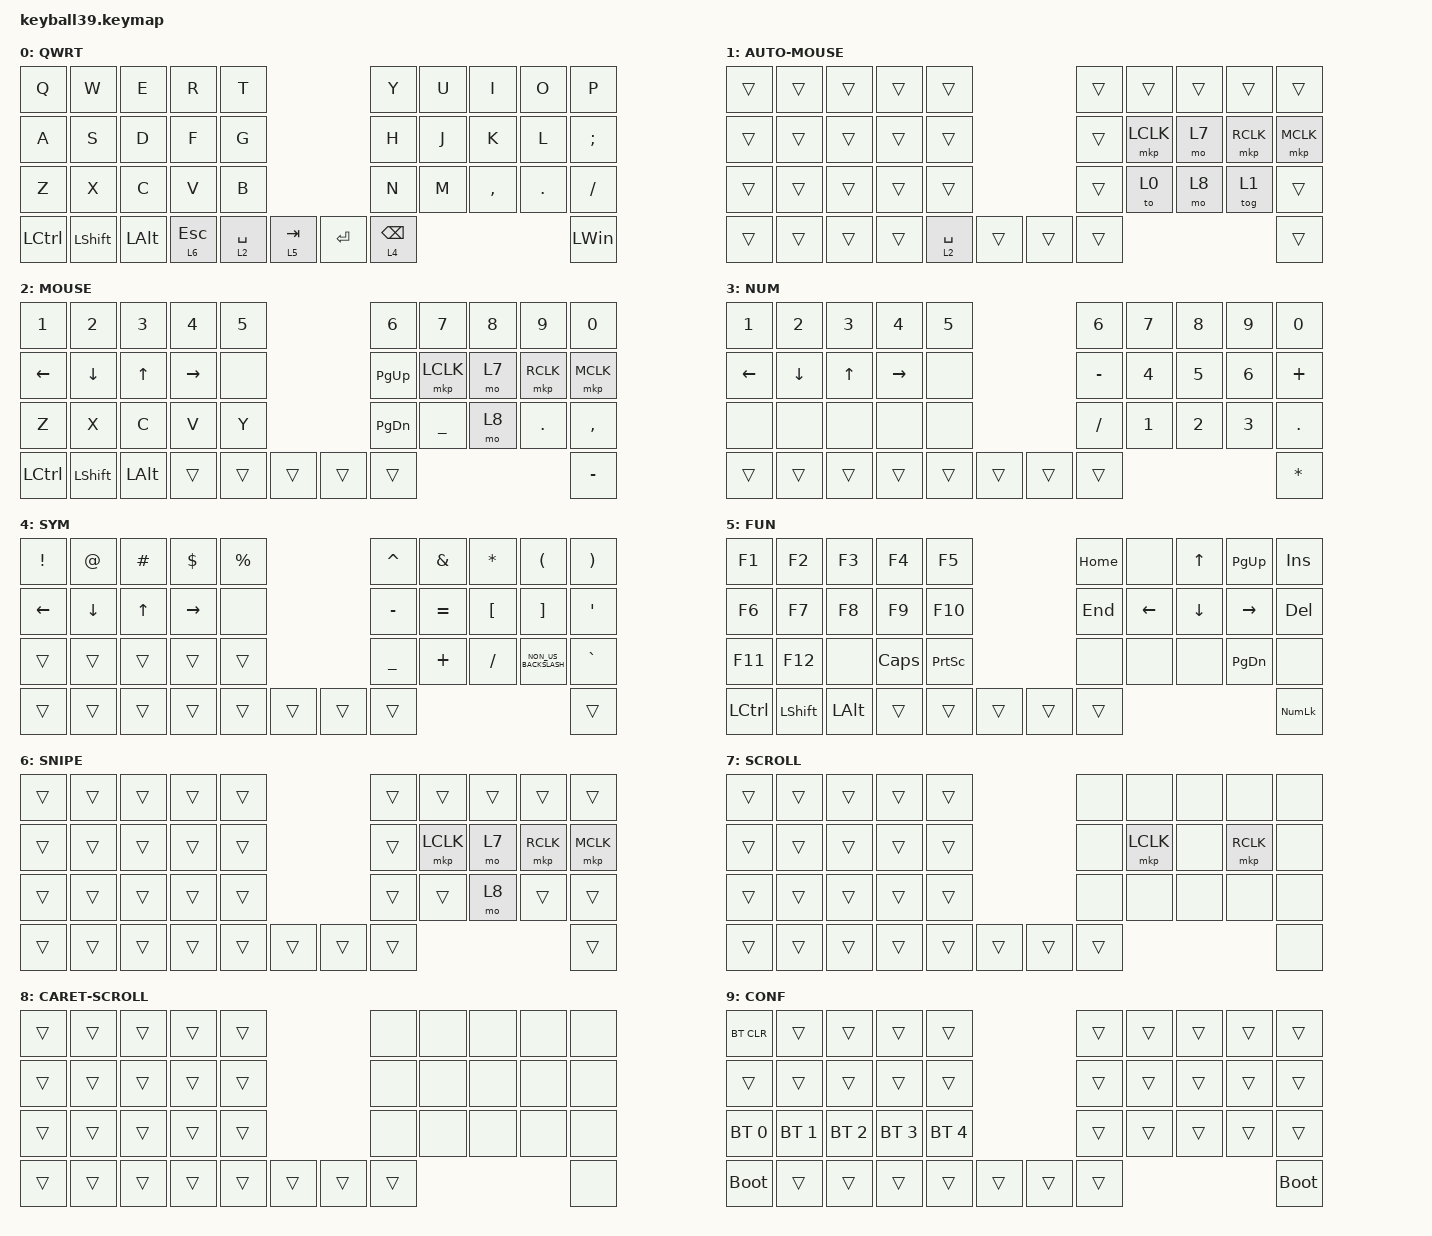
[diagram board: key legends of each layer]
#define DEFAULT 0
#define NUM     1
#define SYM     2
#define FUN     3
#define MOUSE   4
#define SCROLL  5
#define SNIPE   6
#define ZMK_POINTING_DEFAULT_SCRL_VAL 10    // default: 10

#include <behaviors/mouse_keys.dtsi>
#include <dt-bindings/zmk/mouse.h>
#include <behaviors.dtsi>
#include <dt-bindings/zmk/bt.h>
#include <dt-bindings/zmk/keys.h>
#include <dt-bindings/zmk/pointing.h>

&lt {
    tapping-term-ms = <240>;
    flavor = "hold-preferred";
    quick-tap-ms = <200>;
};

&mt {
    tapping-term-ms = <200>;
    flavor = "tap-preferred";
    quick-tap-ms = <150>;
};

&caps_word { continue-list = <UNDERSCORE MINUS>; };

/ {
    // custom shift using mod-morph 

    behaviors {
        cmqus: comma_question {
            compatible = "zmk,behavior-mod-morph";
            label = "COMMA_QUESTION";
            #binding-cells = <0>;
            bindings = <&kp COMMA>, <&kp QUESTION>;

            mods = <(MOD_LSFT|MOD_RSFT)>;
        };

        dtsmi: dot_semi {
            compatible = "zmk,behavior-mod-morph";
            label = "DOT_SEMI";
            #binding-cells = <0>;
            bindings = <&kp DOT>, <&kp SEMI>;

            mods = <(MOD_LSFT|MOD_RSFT)>;
        };
    };

    macros {
        Hiragana: Hiragana {
            compatible = "zmk,behavior-macro";
            #binding-cells = <0>;
            bindings = <&kp LC(SPACE)>;
            label = "HIRAGANA";
        };
    };

    combos {
        compatible = "zmk,combos";

        config-layer-combo {
            bindings = <&mo 9>;
            key-positions = <35 36>;
        };

        tb-caret-layer {
            bindings = <&mo 8>;
            key-positions = <17 18>;
            layers = <1 2 6>;
        };
    };

    keymap {
        compatible = "zmk,keymap";

        default_layer {
            label = "QWRT";
            bindings = <
&kp Q      &kp W           &kp E     &kp R         &kp T                            &kp Y            &kp U  &kp I      &kp O    &kp P
&kp A      &kp S           &kp D     &kp F         &kp G                            &kp H            &kp J  &kp K      &kp L    &kp SEMI
&kp Z      &kp X           &kp C     &kp V         &kp B                            &kp N            &kp M  &kp COMMA  &kp DOT  &kp SLASH
&kp LCTRL  &kp LEFT_SHIFT  &kp LALT  &lt 6 ESCAPE  &lt 2 SPACE  &lt 5 TAB  &kp RET  &lt 4 BACKSPACE                             &kp LEFT_WIN
            >;
        };

        mouse_autolayer {
            label = "AUTO-MOUSE";
            bindings = <
&trans  &trans  &trans  &trans  &trans                       &trans  &trans     &trans  &trans     &trans
&trans  &trans  &trans  &trans  &trans                       &trans  &mkp LCLK  &mo 7   &mkp RCLK  &mkp MCLK
&trans  &trans  &trans  &trans  &trans                       &trans  &to 0      &mo 8   &tog 1     &trans
&trans  &trans  &trans  &trans  &lt 2 SPACE  &trans  &trans  &trans                                &trans
            >;
        };

        mouse_layer {
            label = "MOUSE";
            bindings = <
&kp N1            &kp N2          &kp N3        &kp N4     &kp N5                  &kp N6         &kp N7          &kp N8  &kp N9     &kp N0
&kp LEFT_ARROW    &kp DOWN_ARROW  &kp UP_ARROW  &kp RIGHT  &none                   &kp PAGE_UP    &mkp LCLK       &mo 7   &mkp RCLK  &mkp MCLK
&kp Z             &kp X           &kp C         &kp V      &kp Y                   &kp PAGE_DOWN  &kp UNDERSCORE  &mo 8   &kp DOT    &kp COMMA
&kp LEFT_CONTROL  &kp LEFT_SHIFT  &kp LEFT_ALT  &trans     &trans  &trans  &trans  &trans                                            &kp MINUS
            >;
        };

        number_layer {
            label = "NUM";
            bindings = <
&kp NUMBER_1  &kp NUMBER_2  &kp NUMBER_3  &kp NUMBER_4  &kp NUMBER_5                  &kp NUMBER_6  &kp NUMBER_7  &kp NUMBER_8  &kp NUMBER_9  &kp NUMBER_0
&kp LEFT      &kp DOWN      &kp UP_ARROW  &kp RIGHT     &none                         &kp MINUS     &kp NUMBER_4  &kp NUMBER_5  &kp NUMBER_6  &kp PLUS
&none         &none         &none         &none         &none                         &kp SLASH     &kp NUMBER_1  &kp NUMBER_2  &kp NUMBER_3  &kp DOT
&trans        &trans        &trans        &trans        &trans        &trans  &trans  &trans                                                  &kp ASTERISK
            >;
        };

        symbol_layer {
            label = "SYM";
            bindings = <
&kp EXCLAMATION  &kp AT_SIGN     &kp HASH      &kp DOLLAR       &kp PERCENT                  &kp CARET       &kp AMPERSAND  &kp ASTERISK      &kp LEFT_PARENTHESIS  &kp RIGHT_PARENTHESIS
&kp LEFT_ARROW   &kp DOWN_ARROW  &kp UP_ARROW  &kp RIGHT_ARROW  &none                        &kp MINUS       &kp EQUAL      &kp LEFT_BRACKET  &kp RIGHT_BRACKET     &kp SQT
&trans           &trans          &trans        &trans           &trans                       &kp UNDERSCORE  &kp PLUS       &kp SLASH         &kp NON_US_BACKSLASH  &kp GRAVE
&trans           &trans          &trans        &trans           &trans       &trans  &trans  &trans                                                                 &trans
            >;
        };

        function_layer {
            label = "FUN";
            bindings = <
&kp F1            &kp F2          &kp F3        &kp F4        &kp F5                           &kp HOME  &none           &kp UP_ARROW    &kp PAGE_UP      &kp INS
&kp F6            &kp F7          &kp F8        &kp F9        &kp F10                          &kp END   &kp LEFT_ARROW  &kp DOWN_ARROW  &kp RIGHT_ARROW  &kp DEL
&kp F11           &kp F12         &none         &kp CAPSLOCK  &kp PRINTSCREEN                  &none     &none           &none           &kp PAGE_DOWN    &none
&kp LEFT_CONTROL  &kp LEFT_SHIFT  &kp LEFT_ALT  &trans        &trans           &trans  &trans  &trans                                                     &kp KP_NUMLOCK
            >;
        };

        snipe_layer {
            label = "SNIPE";
            bindings = <
&trans  &trans  &trans  &trans  &trans                  &trans  &trans     &trans  &trans     &trans
&trans  &trans  &trans  &trans  &trans                  &trans  &mkp LCLK  &mo 7   &mkp RCLK  &mkp MCLK
&trans  &trans  &trans  &trans  &trans                  &trans  &trans     &mo 8   &trans     &trans
&trans  &trans  &trans  &trans  &trans  &trans  &trans  &trans                                &trans
            >;
        };

        scroll_layer {
            label = "SCROLL";
            bindings = <
&trans  &trans  &trans  &trans  &trans                  &none   &none      &none  &none      &none
&trans  &trans  &trans  &trans  &trans                  &none   &mkp LCLK  &none  &mkp RCLK  &none
&trans  &trans  &trans  &trans  &trans                  &none   &none      &none  &none      &none
&trans  &trans  &trans  &trans  &trans  &trans  &trans  &trans                               &none
            >;
        };

        caret_scroll_layer {
            label = "CARET-SCROLL";
            bindings = <
&trans  &trans  &trans  &trans  &trans                  &none   &none  &none  &none  &none
&trans  &trans  &trans  &trans  &trans                  &none   &none  &none  &none  &none
&trans  &trans  &trans  &trans  &trans                  &none   &none  &none  &none  &none
&trans  &trans  &trans  &trans  &trans  &trans  &trans  &trans                       &none
            >;
        };

        config_layer {
            bindings = <
&bt BT_CLR    &trans        &trans        &trans        &trans                        &trans  &trans  &trans  &trans  &trans
&trans        &trans        &trans        &trans        &trans                        &trans  &trans  &trans  &trans  &trans
&bt BT_SEL 0  &bt BT_SEL 1  &bt BT_SEL 2  &bt BT_SEL 3  &bt BT_SEL 4                  &trans  &trans  &trans  &trans  &trans
&bootloader   &trans        &trans        &trans        &trans        &trans  &trans  &trans                          &bootloader
            >;

            label = "CONF";
        };
    };
};
